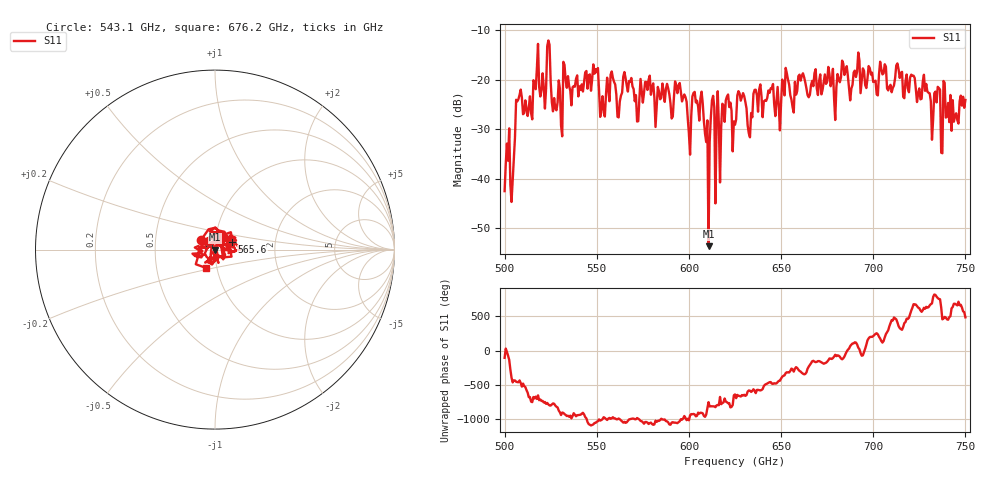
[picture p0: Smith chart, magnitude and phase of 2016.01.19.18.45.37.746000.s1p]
!Created with skrf (http://scikit-rf.org).
# GHz S RI R 50.0
!freq ReS11 ImS11
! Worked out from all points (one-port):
!   401 points, 500 GHz to 750 GHz, reference 50 ohm
!   lowest |S11| = -53.7 dB at 610.6 GHz (marker M1), VSWR 1.00, Z = 50.2 - j0.118 ohm
!   |S11| at or under -10 dB: start of sweep to end of sweep
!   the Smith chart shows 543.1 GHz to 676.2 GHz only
!   S11 on the Smith chart (normalised r, x): 543.1 GHz: 0.85, +0.09; 565.6 GHz: 1.21, +0.10; 676.2 GHz: 0.89, -0.18
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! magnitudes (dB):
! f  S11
! 500 GHz  -42.5
! 504.4 GHz  -40.2
! 507.5 GHz  -23.9
! 513.8 GHz  -23.4
! 523.8 GHz  -12.1
! 526.9 GHz  -23.7
! 531.2 GHz  -31.4
! 543.1 GHz  -20.5
! 562.5 GHz  -24.4
! 565.6 GHz  -19.7
! 571.9 GHz  -28.5
! 593.8 GHz  -22.7
! 600 GHz  -30.9
! 606.2 GHz  -23.8
! 610.6 GHz  -53.7
! 612.5 GHz  -24.2
! 615.6 GHz  -22.3
! 621.2 GHz  -23.0
! 625 GHz  -29.1
! 628.1 GHz  -24.2
! 633.1 GHz  -31.6
! 637.5 GHz  -26.5
! 656.2 GHz  -25.6
! 676.2 GHz  -18.9
! 687.5 GHz  -24.2
! 718.8 GHz  -21.7
! 738.1 GHz  -20.3
! 750 GHz  -24.1
